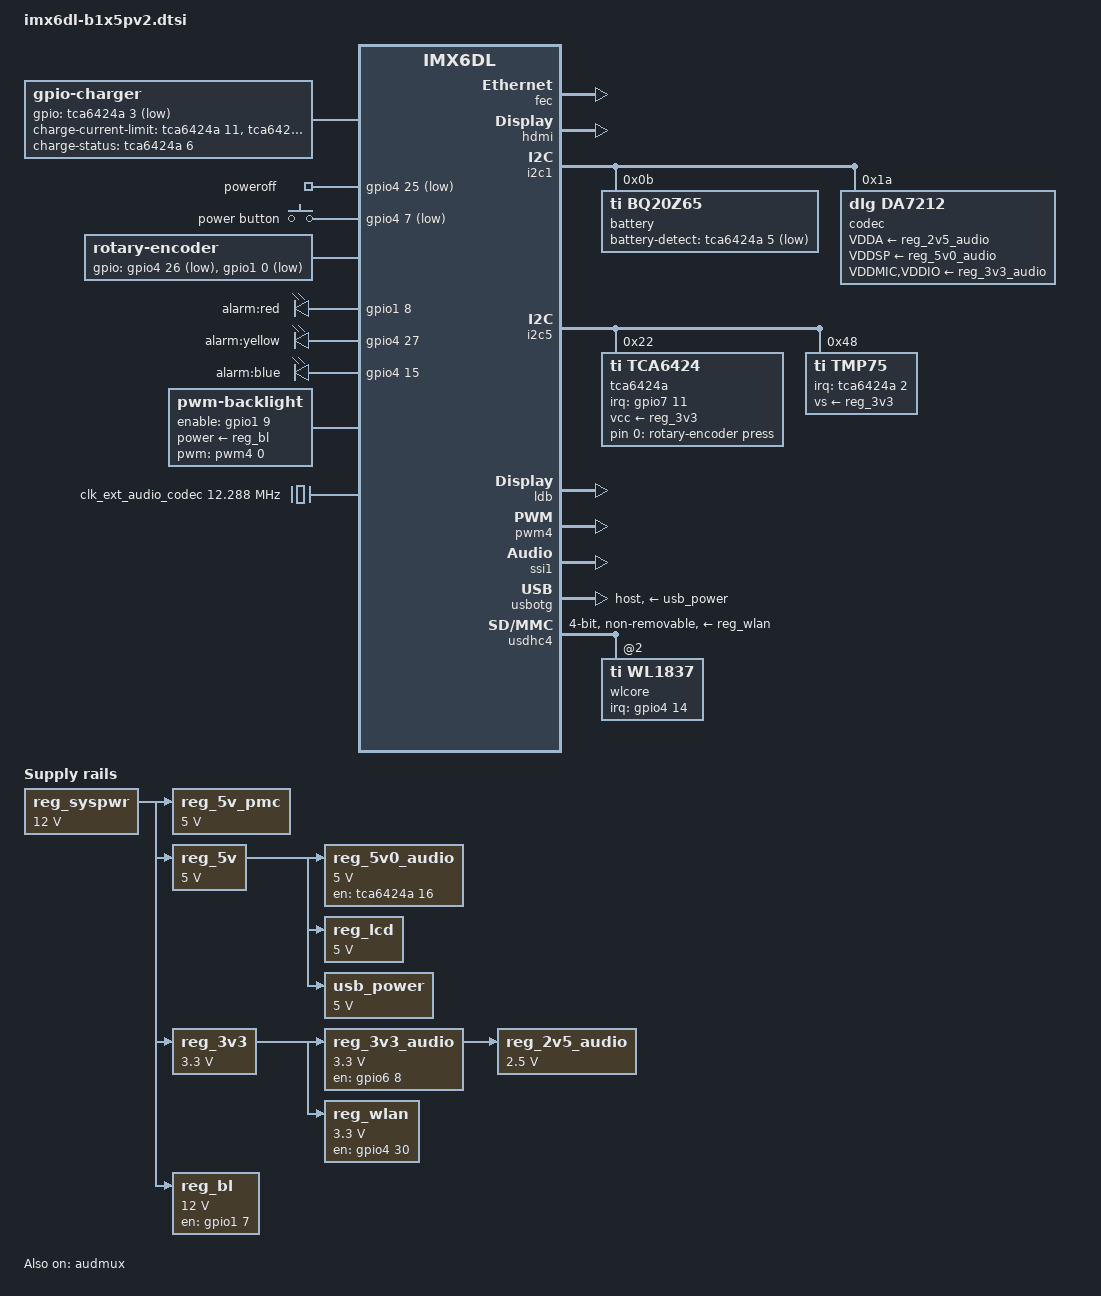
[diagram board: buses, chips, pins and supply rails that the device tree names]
// SPDX-License-Identifier: GPL-2.0 or MIT
//
// Device Tree Source for General Electric B1x5Pv2
// patient monitor series
//
// Copyright 2018-2021 General Electric Company
// Copyright 2018-2021 Collabora

#include <dt-bindings/input/input.h>
#include "imx6dl-qmx6.dtsi"

/ {
	chosen {
		stdout-path = &uart3;
	};

	/* Do not allow frequencies above 800MHz */
	cpus {
		cpu@0 {
			operating-points = <
				/* kHz    uV */
				792000  1175000
				396000  1150000
			>;
			fsl,soc-operating-points = <
				/* ARM kHz	SOC-PU uV */
				792000	1175000
				396000	1175000
			>;
		};

		cpu@1 {
			operating-points = <
				/* kHz    uV */
				792000  1175000
				396000  1150000
			>;
			fsl,soc-operating-points = <
				/* ARM kHz	SOC-PU uV */
				792000	1175000
				396000	1175000
			>;
		};
	};

	reg_syspwr: regulator-12v {
		compatible = "regulator-fixed";
		regulator-name = "SYS_PWR";
		regulator-min-microvolt = <12000000>;
		regulator-max-microvolt = <12000000>;
	};

	reg_5v_pmc: regulator-5v-pmc {
		compatible = "regulator-fixed";
		regulator-name = "5V PMC";
		regulator-min-microvolt = <5000000>;
		regulator-max-microvolt = <5000000>;
		vin-supply = <&reg_syspwr>;
	};

	reg_5v: regulator-5v {
		compatible = "regulator-fixed";
		regulator-name = "5V";
		regulator-min-microvolt = <5000000>;
		regulator-max-microvolt = <5000000>;
		vin-supply = <&reg_syspwr>;
	};

	reg_3v3: regulator-3v3 {
		compatible = "regulator-fixed";
		regulator-name = "3V3";
		regulator-min-microvolt = <3300000>;
		regulator-max-microvolt = <3300000>;
		vin-supply = <&reg_syspwr>;
	};

	reg_5v0_audio: regulator-5v0-audio {
		compatible = "regulator-fixed";
		regulator-name = "5V0_AUDIO";
		regulator-min-microvolt = <5000000>;
		regulator-max-microvolt = <5000000>;
		vin-supply = <&reg_5v>;
		gpio = <&tca6424a 16 GPIO_ACTIVE_HIGH>;
		enable-active-high;
		/*
		 * This must be always-on for da7212, which has some not
		 * properly documented dependencies for it's speaker supply
		 * pin. The issue manifests as speaker volume being very low.
		 */
		regulator-always-on;
	};


	reg_3v3_audio: regulator-3v3-audio {
		compatible = "regulator-fixed";
		regulator-name = "3V3_AUDIO";
		regulator-min-microvolt = <3300000>;
		regulator-max-microvolt = <3300000>;
		vin-supply = <&reg_3v3>;
		pinctrl-0 = <&pinctrl_q7_hda_reset>;
		pinctrl-names = "default";
		gpio = <&gpio6 8 GPIO_ACTIVE_HIGH>;
		enable-active-high;
	};

	reg_2v5_audio: regulator-2v5-audio {
		compatible = "regulator-fixed";
		regulator-name = "2V5_AUDIO";
		regulator-min-microvolt = <2500000>;
		regulator-max-microvolt = <2500000>;
		regulator-always-on;
		vin-supply = <&reg_3v3_audio>;

	};

	reg_wlan: regulator-wlan {
		compatible = "regulator-fixed";
		regulator-name = "WLAN";
		regulator-min-microvolt = <3300000>;
		regulator-max-microvolt = <3300000>;
		vin-supply = <&reg_3v3>;
		pinctrl-names = "default";
		pinctrl-0 = <&pinctrl_q7_sdio_power>;
		gpio = <&gpio4 30 GPIO_ACTIVE_HIGH>;
		enable-active-high;
		startup-delay-us = <70000>;
	};

	reg_bl: regulator-backlight {
		compatible = "regulator-fixed";
		regulator-name = "LED_VCC";
		regulator-min-microvolt = <12000000>;
		regulator-max-microvolt = <12000000>;
		vin-supply = <&reg_syspwr>;
		pinctrl-0 = <&pinctrl_q7_lcd_power>;
		pinctrl-names = "default";
		gpio = <&gpio1 7 GPIO_ACTIVE_HIGH>;
		enable-active-high;
	};

	reg_lcd: regulator-lcd {
		compatible = "regulator-fixed";
		regulator-name = "LCD_5V";
		regulator-min-microvolt = <5000000>;
		regulator-max-microvolt = <5000000>;
		vin-supply = <&reg_5v>;
	};

	usb_power: regulator-usb-power {
		compatible = "regulator-fixed";
		regulator-name = "USB POWER";
		regulator-min-microvolt = <5000000>;
		regulator-max-microvolt = <5000000>;
		vin-supply = <&reg_5v>;
	};

	charger: battery-charger {
		compatible = "gpio-charger"; /* ti,bq24172 */
		charger-type = "mains";
		gpios = <&tca6424a 3 GPIO_ACTIVE_LOW>;
		charge-current-limit-gpios = <&tca6424a 11 GPIO_ACTIVE_HIGH>,
					     <&tca6424a 12 GPIO_ACTIVE_HIGH>;
		charge-current-limit-mapping = <1300000 0x0>,
					       <700000 0x1>,
					       <0 0x2>;
		charge-status-gpios = <&tca6424a 6 GPIO_ACTIVE_HIGH>;
	};

	poweroff {
		compatible = "gpio-poweroff";
		pinctrl-names = "default";
		pinctrl-0 = <&pinctrl_q7_spi_cs1>;
		gpios = <&gpio4 25 GPIO_ACTIVE_LOW>;
	};

	power-button-key {
		compatible = "gpio-keys";
		pinctrl-names = "default";
		pinctrl-0 = <&pinctrl_q7_sleep_button>;

		power-button {
			label = "power button";
			gpios = <&gpio4 7 GPIO_ACTIVE_LOW>;
			linux,code = <KEY_POWER>;
		};
	};

	rotary-encoder-key {
		compatible = "gpio-keys";

		rotary-encoder-event {
			label = "rotary-encoder press";
			gpios = <&tca6424a 0 GPIO_ACTIVE_HIGH>;
			linux,code = <KEY_ENTER>;
			linux,can-disable;
		};
	};

	rotary-encoder {
		compatible = "rotary-encoder";
		pinctrl-names = "default";
		pinctrl-0 = <&pinctrl_q7_gpio2 &pinctrl_q7_gpio4>;
		gpios = <&gpio4 26 GPIO_ACTIVE_LOW>, <&gpio1 0 GPIO_ACTIVE_LOW>;
		rotary-encoder,relative-axis;
		rotary-encoder,steps-per-period = <2>;
		wakeup-source;
	};

	leds {
		compatible = "gpio-leds";
		pinctrl-names = "default";
		pinctrl-0 = <&pinctrl_q7_gpio1 &pinctrl_q7_gpio3 &pinctrl_q7_gpio5>;

		alarm1 {
			label = "alarm:red";
			gpios = <&gpio1 8 GPIO_ACTIVE_HIGH>;
		};

		alarm2 {
			label = "alarm:yellow";
			gpios = <&gpio4 27 GPIO_ACTIVE_HIGH>;
		};

		alarm3 {
			label = "alarm:blue";
			gpios = <&gpio4 15 GPIO_ACTIVE_HIGH>;
		};
	};

	backlight: backlight {
		compatible = "pwm-backlight";
		pinctrl-names = "default";
		pinctrl-0 = <&pinctrl_q7_backlight_enable>;
		power-supply = <&reg_bl>;
		pwms = <&pwm4 0 5000000 0>;
		brightness-levels = <0 255>;
		num-interpolated-steps = <255>;
		default-brightness-level = <179>;
		enable-gpios = <&gpio1 9 GPIO_ACTIVE_HIGH>;
	};

	panel {
		backlight = <&backlight>;
		power-supply = <&reg_lcd>;

		port {
			panel_in: endpoint {
				remote-endpoint = <&lvds0_out>;
			};
		};
	};

	sound {
		compatible = "simple-audio-card";
		simple-audio-card,name = "audio-card";
		simple-audio-card,format = "i2s";
		simple-audio-card,bitclock-master = <&dailink_master>;
		simple-audio-card,frame-master = <&dailink_master>;
		simple-audio-card,widgets = "Speaker", "Ext Spk";
		simple-audio-card,audio-routing = "Ext Spk", "LINE";

		simple-audio-card,cpu {
			sound-dai = <&ssi1>;
		};

		dailink_master: simple-audio-card,codec {
			sound-dai = <&codec>;
		};
	};

	clk_ext_audio_codec: clock-codec {
		compatible = "fixed-clock";
		#clock-cells = <0>;
		clock-frequency = <12288000>;
	};
};

&audmux {
	status = "okay";
};

&fec {
	status = "okay";
};

&hdmi {
	status = "okay";
};

&i2c1 {
	battery: battery@b {
		compatible = "ti,bq20z65", "sbs,sbs-battery";
		reg = <0x0b>;
		sbs,battery-detect-gpios = <&tca6424a 5 GPIO_ACTIVE_LOW>;
		sbs,i2c-retry-count = <5>;
		power-supplies = <&charger>;
	};

	codec: audio-codec@1a {
		compatible = "dlg,da7212";
		reg = <0x1a>;
		#sound-dai-cells = <0>;
		VDDA-supply = <&reg_2v5_audio>;
		VDDSP-supply = <&reg_5v0_audio>;
		VDDMIC-supply = <&reg_3v3_audio>;
		VDDIO-supply = <&reg_3v3_audio>;
		clocks = <&clk_ext_audio_codec>;
		clock-names = "mclk";
	};
};

&i2c5 {
	tca6424a: gpio-controller@22 {
		compatible = "ti,tca6424";
		reg = <0x22>;
		gpio-controller;
		#gpio-cells = <2>;
		vcc-supply = <&reg_3v3>;
		interrupt-parent = <&gpio7>;
		interrupts = <11 IRQ_TYPE_LEVEL_LOW>;
		pinctrl-names = "default";
		pinctrl-0 = <&pinctrl_q7_gpio6>;
		interrupt-controller;
		#interrupt-cells = <2>;
		gpio-line-names = "GPIO_ROTOR#", "ACM_IO_INT", "TMP_SENSOR_IRQ", "AC_IN",
				  "TF_S", "BATT_T", "LED_INC_CHAR", "ACM1_OCF",
				  "ACM2_OCF", "ACM_IO_RST", "USB1_POWER_EN", "EGPIO_CC_CTL0",
				  "EGPIO_CC_CTL1", "12V_OEMNBP_EN", "CP2105_RST", "",
				  "SPEAKER_PA_EN", "ARM7_UPI_RESET", "ARM7_PWR_RST", "NURSE_CALL",
				  "MARKER_EN", "EGPIO_TOUCH_RST", "PRESSURE_INT1", "PRESSURE_INT2";

	};

	tmp75: temperature-sensor@48 {
		compatible = "ti,tmp75";
		reg = <0x48>;
		vs-supply = <&reg_3v3>;
		interrupt-parent = <&tca6424a>;
		interrupts = <2 IRQ_TYPE_EDGE_FALLING>;
	};
};

&ldb {
	status = "okay";

	lvds0: lvds-channel@0 {
		status = "okay";
		fsl,data-mapping = "spwg";
		fsl,data-width = <24>;

		port@4 {
			reg = <4>;

			lvds0_out: endpoint {
				remote-endpoint = <&panel_in>;
			};
		};
	};
};

&pwm4 {
	status = "okay";
};

&ssi1 {
	fsl,mode = "i2s-slave";
	status = "okay";
};

&usbotg {
	vbus-supply = <&usb_power>;
	disable-over-current;
	dr_mode = "host";
	status = "okay";

	/*
	 * TPS2051BDGN fault-gpio is connected to Q7[86] USB_0_1_OC_N.
	 * On QMX6 this is not connceted to the i.MX6, but to the USB Hub
	 * from &usbh1. This means, that we cannot easily detect and handle
	 * over-current events. Fortunately the regulator limits the current
	 * automatically, so the hardware is still protected.
	 */
};

&usdhc4 {
	/* WiFi module */
	pinctrl-names = "default";
	pinctrl-0 = <&pinctrl_usdhc4>;
	bus-width = <4>;
	no-1-8-v;
	non-removable;
	wakeup-source;
	keep-power-in-suspend;
	cap-power-off-card;
	max-frequency = <25000000>;
	vmmc-supply = <&reg_wlan>;
	#address-cells = <1>;
	#size-cells = <0>;
	status = "okay";

	wlcore: wlcore@2 {
		compatible = "ti,wl1837";
		reg = <2>;

		pinctrl-names = "default";
		pinctrl-0 = <&pinctrl_q7_gpio7>;

		interrupt-parent = <&gpio4>;
		interrupts = <14 IRQ_TYPE_LEVEL_HIGH>;

		tcxo-clock-frequency = <26000000>;
	};
};
